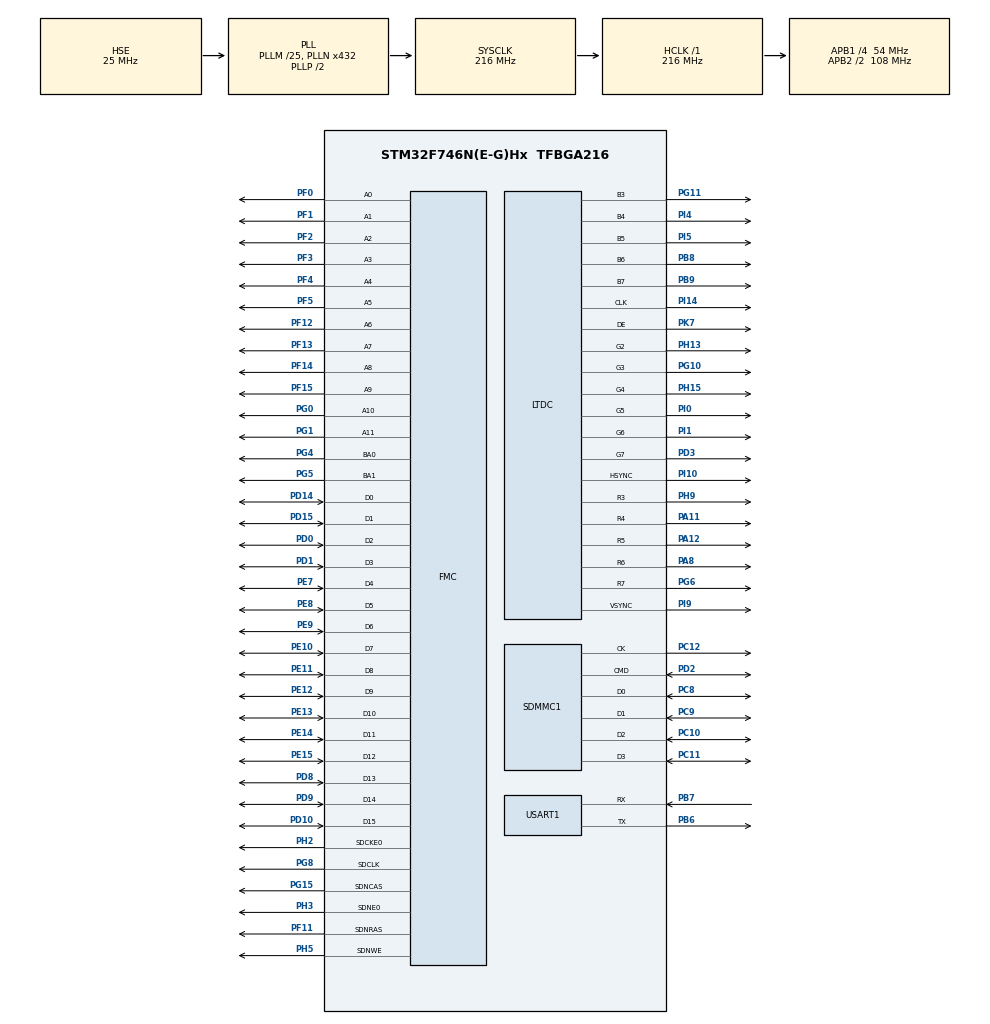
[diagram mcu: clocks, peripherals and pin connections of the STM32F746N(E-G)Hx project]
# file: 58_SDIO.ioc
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CORTEX_M7.CPU_DCache=Enabled
CORTEX_M7.CPU_ICache=Enabled
FATFS._MAX_SS=4096
FMC.CASLatency1=FMC_SDRAM_CAS_LATENCY_2
FMC.ExitSelfRefreshDelay1=6
FMC.LoadToActiveDelay1=2
FMC.RCDDelay1=2
FMC.RPDelay1=2
FMC.RPDelay2=2
FMC.RowCycleDelay1=6
FMC.RowCycleDelay2=6
FMC.SelfRefreshTime1=4
FMC.WriteRecoveryTime1=2
FREERTOS.Tasks01=defaultTask,0,1280,StartDefaultTask,Default;myTask02,-3,128,StartTask02,Default;myTask03,-3,128,StartTask03,Default;myTask04,-3,128,StartTask04,Default;myTask05,-3,128,StartTask05,Default
LTDC.ActiveH=272
LTDC.ActiveW=480
LTDC.HBP=73
LTDC.HFP=32
LTDC.HSync=41
LTDC.Layers=0
LTDC.VSync=10
LTDC.WindowX1_L0=480
LTDC.WindowY1_L0=272
Mcu.Family=STM32F7
Mcu.Name=STM32F746N(E-G)Hx
Mcu.Package=TFBGA216
NVIC.PriorityGroup=NVIC_PRIORITYGROUP_4
NVIC.TIM1_UP_TIM10_IRQn=true\:0\:0\:false\:false\:true\:false\:true
NVIC.TimeBase=TIM1_UP_TIM10_IRQn
NVIC.TimeBaseIP=TIM1
PA11.Mode=RGB565
PA11.Signal=LTDC_R4
PA12.Mode=RGB565
PA12.Signal=LTDC_R5
PA13.Mode=Serial_Wire
PA13.Signal=SYS_JTMS-SWDIO
PA14.Mode=Serial_Wire
PA14.Signal=SYS_JTCK-SWCLK
PA8.Mode=RGB565
PA8.Signal=LTDC_R6
PB6.Mode=Asynchronous
PB6.Signal=USART1_TX
PB7.Mode=Asynchronous
PB7.Signal=USART1_RX
PB8.Mode=RGB565
PB8.Signal=LTDC_B6
PB9.Mode=RGB565
PB9.Signal=LTDC_B7
PC10.Mode=SD_4_bits_Wide_bus
PC10.Signal=SDMMC1_D2
PC11.Mode=SD_4_bits_Wide_bus
PC11.Signal=SDMMC1_D3
PC12.Mode=SD_4_bits_Wide_bus
PC12.Signal=SDMMC1_CK
PC8.Mode=SD_4_bits_Wide_bus
PC8.Signal=SDMMC1_D0
PC9.Mode=SD_4_bits_Wide_bus
PC9.Signal=SDMMC1_D1
PD0.Signal=FMC_D2_DA2
PD1.Signal=FMC_D3_DA3
PD10.Signal=FMC_D15_DA15
PD14.Signal=FMC_D0_DA0
PD15.Signal=FMC_D1_DA1
PD2.Mode=SD_4_bits_Wide_bus
PD2.Signal=SDMMC1_CMD
PD3.Mode=RGB565
PD3.Signal=LTDC_G7
PD8.Signal=FMC_D13_DA13
PD9.Signal=FMC_D14_DA14
PE10.Signal=FMC_D7_DA7
PE11.Signal=FMC_D8_DA8
PE12.Signal=FMC_D9_DA9
PE13.Signal=FMC_D10_DA10
PE14.Signal=FMC_D11_DA11
PE15.Signal=FMC_D12_DA12
PE7.Signal=FMC_D4_DA4
PE8.Signal=FMC_D5_DA5
PE9.Signal=FMC_D6_DA6
PF0.Signal=FMC_A0
PF1.Signal=FMC_A1
PF11.Signal=FMC_SDNRAS
PF12.Signal=FMC_A6
PF13.Signal=FMC_A7
PF14.Signal=FMC_A8
PF15.Signal=FMC_A9
PF2.Signal=FMC_A2
PF3.Signal=FMC_A3
PF4.Signal=FMC_A4
PF5.Signal=FMC_A5
PG0.Signal=FMC_A10
PG1.Signal=FMC_A11
PG10.Mode=RGB565
PG10.Signal=LTDC_G3
PG11.Mode=RGB565
PG11.Signal=LTDC_B3
PG15.Signal=FMC_SDNCAS
PG4.Signal=FMC_A14_BA0
PG5.Signal=FMC_A15_BA1
PG6.Mode=RGB565
PG6.Signal=LTDC_R7
PG8.Signal=FMC_SDCLK
PH0/OSC_IN.Mode=HSE-External-Oscillator
PH0/OSC_IN.Signal=RCC_OSC_IN
PH1/OSC_OUT.Mode=HSE-External-Oscillator
PH1/OSC_OUT.Signal=RCC_OSC_OUT
PH13.Mode=RGB565
PH13.Signal=LTDC_G2
PH15.Mode=RGB565
PH15.Signal=LTDC_G4
PH2.Mode=SdramChipSelect1_1
PH2.Signal=FMC_SDCKE0
PH3.Mode=SdramChipSelect1_1
PH3.Signal=FMC_SDNE0
PH5.Signal=FMC_SDNWE
PH9.Mode=RGB565
PH9.Signal=LTDC_R3
PI0.Mode=RGB565
PI0.Signal=LTDC_G5
PI1.Mode=RGB565
PI1.Signal=LTDC_G6
PI10.Mode=RGB565
PI10.Signal=LTDC_HSYNC
PI14.Mode=RGB565
PI14.Signal=LTDC_CLK
PI4.Mode=RGB565
PI4.Signal=LTDC_B4
PI5.Mode=RGB565
PI5.Signal=LTDC_B5
PI9.Mode=RGB565
PI9.Signal=LTDC_VSYNC
PK7.Mode=RGB565
PK7.Signal=LTDC_DE
ProjectManager.HeapSize=0x2000
ProjectManager.StackSize=0x4000
ProjectManager.TargetToolchain=STM32CubeIDE
RCC.AHBFreq_Value=216000000
RCC.APB1CLKDivider=RCC_HCLK_DIV4
RCC.APB1Freq_Value=54000000
RCC.APB1TimFreq_Value=108000000
RCC.APB2CLKDivider=RCC_HCLK_DIV2
RCC.APB2Freq_Value=108000000
RCC.APB2TimFreq_Value=216000000
RCC.CortexFreq_Value=216000000
RCC.HCLKFreq_Value=216000000
RCC.HSE_VALUE=25000000
RCC.HSI_VALUE=16000000
RCC.LSE_VALUE=32768
RCC.PLLM=25
RCC.PLLN=432
RCC.PLLQ=9
RCC.PLLSourceVirtual=RCC_PLLSOURCE_HSE
RCC.SDMMCClockSelection=RCC_SDMMC1CLKSOURCE_CLK48
RCC.SYSCLKFreq_VALUE=216000000
RCC.SYSCLKSource=RCC_SYSCLKSOURCE_PLLCLK
RCC.USBFreq_Value=48000000
RCC.VCOOutputFreq_Value=432000000
SH.FMC_A0.0=FMC_A0,12b-sda1
SH.FMC_A1.0=FMC_A1,12b-sda1
SH.FMC_A10.0=FMC_A10,12b-sda1
SH.FMC_A11.0=FMC_A11,12b-sda1
SH.FMC_A14_BA0.0=FMC_BA0,FourSdramBanks1
SH.FMC_A15_BA1.0=FMC_BA1,FourSdramBanks1
SH.FMC_A2.0=FMC_A2,12b-sda1
SH.FMC_A3.0=FMC_A3,12b-sda1
SH.FMC_A4.0=FMC_A4,12b-sda1
SH.FMC_A5.0=FMC_A5,12b-sda1
SH.FMC_A6.0=FMC_A6,12b-sda1
SH.FMC_A7.0=FMC_A7,12b-sda1
SH.FMC_A8.0=FMC_A8,12b-sda1
SH.FMC_A9.0=FMC_A9,12b-sda1
SH.FMC_D0_DA0.0=FMC_D0,sd-16b-d1
SH.FMC_D10_DA10.0=FMC_D10,sd-16b-d1
SH.FMC_D11_DA11.0=FMC_D11,sd-16b-d1
SH.FMC_D12_DA12.0=FMC_D12,sd-16b-d1
SH.FMC_D13_DA13.0=FMC_D13,sd-16b-d1
SH.FMC_D14_DA14.0=FMC_D14,sd-16b-d1
SH.FMC_D15_DA15.0=FMC_D15,sd-16b-d1
SH.FMC_D1_DA1.0=FMC_D1,sd-16b-d1
SH.FMC_D2_DA2.0=FMC_D2,sd-16b-d1
SH.FMC_D3_DA3.0=FMC_D3,sd-16b-d1
SH.FMC_D4_DA4.0=FMC_D4,sd-16b-d1
SH.FMC_D5_DA5.0=FMC_D5,sd-16b-d1
SH.FMC_D6_DA6.0=FMC_D6,sd-16b-d1
SH.FMC_D7_DA7.0=FMC_D7,sd-16b-d1
SH.FMC_D8_DA8.0=FMC_D8,sd-16b-d1
SH.FMC_D9_DA9.0=FMC_D9,sd-16b-d1
SH.FMC_SDCLK.0=FMC_SDCLK,12b-sda1
SH.FMC_SDNCAS.0=FMC_SDNCAS,12b-sda1
SH.FMC_SDNRAS.0=FMC_SDNRAS,12b-sda1
SH.FMC_SDNWE.0=FMC_SDNWE,12b-sda1
USART1.VirtualMode=VM_ASYNC
VP_DMA2D_VS_DMA2D.Mode=DMA2D_Activate
VP_FATFS_VS_SDIO.Mode=SDIO
VP_FREERTOS_VS_ENABLE.Mode=Enabled
VP_SYS_VS_tim1.Mode=TIM1
board=SDIO

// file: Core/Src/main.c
/**
  ******************************************************************************
  * File Name          : main.c
  * Description        : Main program body
  ******************************************************************************
  *
  * Copyright (c) 2016 STMicroelectronics International N.V.
  * All rights reserved.
  *
  * Redistribution and use in source and binary forms, with or without
  * modification, are permitted, provided that the following conditions are met:
  *
  * 1. Redistribution of source code must retain the above copyright notice,
  *    this list of conditions and the following disclaimer.
  * 2. Redistributions in binary form must reproduce the above copyright notice,
  *    this list of conditions and the following disclaimer in the documentation
  *    and/or other materials provided with the distribution.
  * 3. Neither the name of STMicroelectronics nor the names of other
  *    contributors to this software may be used to endorse or promote products
  *    derived from this software without specific written permission.
  * 4. This software, including modifications and/or derivative works of this
  *    software, must execute solely and exclusively on microcontroller or
  *    microprocessor devices manufactured by or for STMicroelectronics.
  * 5. Redistribution and use of this software other than as permitted under
  *    this license is void and will automatically terminate your rights under
  *    this license.
  *
  * THIS SOFTWARE IS PROVIDED BY STMICROELECTRONICS AND CONTRIBUTORS "AS IS"
  * AND ANY EXPRESS, IMPLIED OR STATUTORY WARRANTIES, INCLUDING, BUT NOT
  * LIMITED TO, THE IMPLIED WARRANTIES OF MERCHANTABILITY, FITNESS FOR A
  * PARTICULAR PURPOSE AND NON-INFRINGEMENT OF THIRD PARTY INTELLECTUAL PROPERTY
  * RIGHTS ARE DISCLAIMED TO THE FULLEST EXTENT PERMITTED BY LAW. IN NO EVENT
  * SHALL STMICROELECTRONICS OR CONTRIBUTORS BE LIABLE FOR ANY DIRECT, INDIRECT,
  * INCIDENTAL, SPECIAL, EXEMPLARY, OR CONSEQUENTIAL DAMAGES (INCLUDING, BUT NOT
  * LIMITED TO, PROCUREMENT OF SUBSTITUTE GOODS OR SERVICES; LOSS OF USE, DATA,
  * OR PROFITS; OR BUSINESS INTERRUPTION) HOWEVER CAUSED AND ON ANY THEORY OF
  * LIABILITY, WHETHER IN CONTRACT, STRICT LIABILITY, OR TORT (INCLUDING
  * NEGLIGENCE OR OTHERWISE) ARISING IN ANY WAY OUT OF THE USE OF THIS SOFTWARE,
  * EVEN IF ADVISED OF THE POSSIBILITY OF SUCH DAMAGE.
  *
  ******************************************************************************
  */
#include "main.h"
#include "stm32f7xx_hal.h"
#include "cmsis_os.h"
#include "fatfs.h"

/* USER CODE BEGIN Includes */
#include <stdlib.h>
#include <string.h>
#include "stm32746g_discovery.h"
#include "stm32746g_discovery_lcd.h"
/* USER CODE END Includes */

DMA2D_HandleTypeDef hdma2d;

LTDC_HandleTypeDef hltdc;

SD_HandleTypeDef hsd1;
HAL_SD_CardInfoTypedef SDCardInfo1;

UART_HandleTypeDef huart1;

SDRAM_HandleTypeDef hsdram1;

osThreadId defaultTaskHandle;
osThreadId myTask02Handle;
osThreadId myTask03Handle;
osThreadId myTask04Handle;
osThreadId myTask05Handle;

/* USER CODE BEGIN PV */
/* Private variables ---------------------------------------------------------*/
#define LCD_FRAME_BUFFER	SDRAM_DEVICE_ADDR
FATFS SDFatFs;  /* File system object for SD card logical drive */
FIL MyFile;     /* File object */
extern char SD_Path[4];  /* SD logical drive path */
uint8_t sect[4096];
uint32_t bytesread = 0;
uint8_t* bmp1;
/* USER CODE END PV */

void SystemClock_Config(void);
void Error_Handler(void);
static void MX_GPIO_Init(void);
static void MX_DMA2D_Init(void);
static void MX_FMC_Init(void);
static void MX_LTDC_Init(void);
static void MX_USART1_UART_Init(void);
static void MX_SDMMC1_SD_Init(void);
void StartDefaultTask(void const * argument);
void StartTask02(void const * argument);
void StartTask03(void const * argument);
void StartTask04(void const * argument);
void StartTask05(void const * argument);

/* USER CODE BEGIN PFP */
/* Private function prototypes -----------------------------------------------*/

/* USER CODE END PFP */

/* USER CODE BEGIN 0 */
uint32_t OpenBMP(uint8_t *ptr, const char* fname)
{
	uint32_t ind = 0, sz = 0, i1 = 0, ind1 = 0;
	static uint32_t bmp_addr;

	if(f_open(&MyFile, fname, FA_READ) != FR_OK)
	{
		BSP_LCD_Clear(LCD_COLOR_RED);
	}
	else
	{
		  if (f_read (&MyFile, sect, 30, (UINT *)bytesread) != FR_OK)
		  {
			Error_Handler();
		  }
		  else
		  {
			  bmp_addr = (uint32_t)sect;
			  sz = *(uint16_t *) (bmp_addr + 2);
			  sz |= (*(uint16_t *) (bmp_addr + 4)) << 16;

			  /* Get bitmap data address offset */
			  ind = *(uint16_t *) (bmp_addr + 10);
			  ind |= (*(uint16_t *) (bmp_addr + 12)) << 16;
			  f_close (&MyFile);
			  f_open (&MyFile, fname, FA_READ);
			  ind=0;
			  do
			  {
					if (sz < 4096)
					{
					  i1 = sz;
					}
					else
					{
					  i1 = 4096;
					}
				    sz -= i1;
				    f_lseek(&MyFile,ind1);
				    f_read (&MyFile, sect, i1, (UINT *)&bytesread);
				    memcpy((void*)(bmp1+ind1), (void*)sect, i1);
					ind1+=i1;
			  }
			  while (sz > 0);
			  f_close (&MyFile);
		  }
		  ind1=0;
	}
	return 0;
}
/* USER CODE END 0 */

int main(void)
{

  /* USER CODE BEGIN 1 */
  bmp1 = (uint8_t *)0xC00FF000;
  /* USER CODE END 1 */

  /* Enable I-Cache-------------------------------------------------------------*/
  SCB_EnableICache();

  /* Enable D-Cache-------------------------------------------------------------*/
  SCB_EnableDCache();

  /* MCU Configuration----------------------------------------------------------*/

  /* Reset of all peripherals, Initializes the Flash interface and the Systick. */
  HAL_Init();

  /* Configure the system clock */
  SystemClock_Config();

  /* Initialize all configured peripherals */
  MX_GPIO_Init();
  MX_DMA2D_Init();
  MX_FMC_Init();
  MX_LTDC_Init();
  MX_USART1_UART_Init();
  MX_SDMMC1_SD_Init();

  /* USER CODE BEGIN 2 */
  BSP_LCD_Init();
  BSP_LCD_LayerDefaultInit(LTDC_ACTIVE_LAYER, LCD_FRAME_BUFFER);
  BSP_LCD_SelectLayer(LTDC_ACTIVE_LAYER);
  BSP_LCD_DisplayOn();
  BSP_LCD_Clear(LCD_COLOR_BLACK);
  /* USER CODE END 2 */

  /* Create the thread(s) */
  /* definition and creation of defaultTask */
  osThreadDef(defaultTask, StartDefaultTask, osPriorityNormal, 0, 1280);
  defaultTaskHandle = osThreadCreate(osThread(defaultTask), NULL);

  /* definition and creation of myTask02 */
  osThreadDef(myTask02, StartTask02, osPriorityIdle, 0, 128);
  myTask02Handle = osThreadCreate(osThread(myTask02), NULL);

  /* definition and creation of myTask03 */
  osThreadDef(myTask03, StartTask03, osPriorityIdle, 0, 128);
  myTask03Handle = osThreadCreate(osThread(myTask03), NULL);

  /* definition and creation of myTask04 */
  osThreadDef(myTask04, StartTask04, osPriorityIdle, 0, 128);
  myTask04Handle = osThreadCreate(osThread(myTask04), NULL);

  /* definition and creation of myTask05 */
  osThreadDef(myTask05, StartTask05, osPriorityIdle, 0, 128);
  myTask05Handle = osThreadCreate(osThread(myTask05), NULL);

  /* Start scheduler */
  osKernelStart();

  /* We should never get here as control is now taken by the scheduler */

  /* Infinite loop */
  while (1)
  {

  }

}

/** System Clock Configuration
*/
void SystemClock_Config(void)
{

  RCC_OscInitTypeDef RCC_OscInitStruct;
  RCC_ClkInitTypeDef RCC_ClkInitStruct;
  RCC_PeriphCLKInitTypeDef PeriphClkInitStruct;

    /**Configure the main internal regulator output voltage
    */
  __HAL_RCC_PWR_CLK_ENABLE();

  __HAL_PWR_VOLTAGESCALING_CONFIG(PWR_REGULATOR_VOLTAGE_SCALE1);

    /**Initializes the CPU, AHB and APB busses clocks
    */
  RCC_OscInitStruct.OscillatorType = RCC_OSCILLATORTYPE_HSE;
  RCC_OscInitStruct.HSEState = RCC_HSE_ON;
  RCC_OscInitStruct.PLL.PLLState = RCC_PLL_ON;
  RCC_OscInitStruct.PLL.PLLSource = RCC_PLLSOURCE_HSE;
  RCC_OscInitStruct.PLL.PLLM = 25;
  RCC_OscInitStruct.PLL.PLLN = 432;
  RCC_OscInitStruct.PLL.PLLP = RCC_PLLP_DIV2;
  RCC_OscInitStruct.PLL.PLLQ = 9;
  if (HAL_RCC_OscConfig(&RCC_OscInitStruct) != HAL_OK)
  {
    Error_Handler();
  }

    /**Activate the Over-Drive mode
    */
  if (HAL_PWREx_EnableOverDrive() != HAL_OK)
  {
    Error_Handler();
  }

    /**Initializes the CPU, AHB and APB busses clocks
    */
  RCC_ClkInitStruct.ClockType = RCC_CLOCKTYPE_HCLK|RCC_CLOCKTYPE_SYSCLK
                              |RCC_CLOCKTYPE_PCLK1|RCC_CLOCKTYPE_PCLK2;
  RCC_ClkInitStruct.SYSCLKSource = RCC_SYSCLKSOURCE_PLLCLK;
  RCC_ClkInitStruct.AHBCLKDivider = RCC_SYSCLK_DIV1;
  RCC_ClkInitStruct.APB1CLKDivider = RCC_HCLK_DIV4;
  RCC_ClkInitStruct.APB2CLKDivider = RCC_HCLK_DIV2;

  if (HAL_RCC_ClockConfig(&RCC_ClkInitStruct, FLASH_LATENCY_7) != HAL_OK)
  {
    Error_Handler();
  }

  PeriphClkInitStruct.PeriphClockSelection = RCC_PERIPHCLK_LTDC|RCC_PERIPHCLK_USART1
                              |RCC_PERIPHCLK_SDMMC1|RCC_PERIPHCLK_CLK48;
  PeriphClkInitStruct.PLLSAI.PLLSAIN = 192;
  PeriphClkInitStruct.PLLSAI.PLLSAIR = 2;
  PeriphClkInitStruct.PLLSAI.PLLSAIQ = 2;
  PeriphClkInitStruct.PLLSAI.PLLSAIP = RCC_PLLSAIP_DIV2;
  PeriphClkInitStruct.PLLSAIDivQ = 1;
  PeriphClkInitStruct.PLLSAIDivR = RCC_PLLSAIDIVR_2;
  PeriphClkInitStruct.Usart1ClockSelection = RCC_USART1CLKSOURCE_PCLK2;
  PeriphClkInitStruct.Clk48ClockSelection = RCC_CLK48SOURCE_PLL;
  PeriphClkInitStruct.Sdmmc1ClockSelection = RCC_SDMMC1CLKSOURCE_CLK48;
  if (HAL_RCCEx_PeriphCLKConfig(&PeriphClkInitStruct) != HAL_OK)
  {
    Error_Handler();
  }

    /**Configure the Systick interrupt time
    */
  HAL_SYSTICK_Config(HAL_RCC_GetHCLKFreq()/1000);

    /**Configure the Systick
    */
  HAL_SYSTICK_CLKSourceConfig(SYSTICK_CLKSOURCE_HCLK);

  /* SysTick_IRQn interrupt configuration */
  HAL_NVIC_SetPriority(SysTick_IRQn, 15, 0);
}

/* DMA2D init function */
static void MX_DMA2D_Init(void)
{

  hdma2d.Instance = DMA2D;
  hdma2d.Init.Mode = DMA2D_M2M;
  hdma2d.Init.ColorMode = DMA2D_OUTPUT_ARGB8888;
  hdma2d.Init.OutputOffset = 0;
  hdma2d.LayerCfg[1].InputOffset = 0;
  hdma2d.LayerCfg[1].InputColorMode = DMA2D_INPUT_ARGB8888;
  hdma2d.LayerCfg[1].AlphaMode = DMA2D_NO_MODIF_ALPHA;
  hdma2d.LayerCfg[1].InputAlpha = 0;
  if (HAL_DMA2D_Init(&hdma2d) != HAL_OK)
  {
    Error_Handler();
  }

  if (HAL_DMA2D_ConfigLayer(&hdma2d, 1) != HAL_OK)
  {
    Error_Handler();
  }

}

/* LTDC init function */
static void MX_LTDC_Init(void)
{

  LTDC_LayerCfgTypeDef pLayerCfg;

  hltdc.Instance = LTDC;
  hltdc.Init.HSPolarity = LTDC_HSPOLARITY_AL;
  hltdc.Init.VSPolarity = LTDC_VSPOLARITY_AL;
  hltdc.Init.DEPolarity = LTDC_DEPOLARITY_AL;
  hltdc.Init.PCPolarity = LTDC_PCPOLARITY_IPC;
  hltdc.Init.HorizontalSync = 40;
  hltdc.Init.VerticalSync = 9;
  hltdc.Init.AccumulatedHBP = 113;
  hltdc.Init.AccumulatedVBP = 11;
  hltdc.Init.AccumulatedActiveW = 593;
  hltdc.Init.AccumulatedActiveH = 283;
  hltdc.Init.TotalWidth = 625;
  hltdc.Init.TotalHeigh = 285;
  hltdc.Init.Backcolor.Blue = 0;
  hltdc.Init.Backcolor.Green = 0;
  hltdc.Init.Backcolor.Red = 0;
  if (HAL_LTDC_Init(&hltdc) != HAL_OK)
  {
    Error_Handler();
  }

  pLayerCfg.WindowX0 = 0;
  pLayerCfg.WindowX1 = 480;
  pLayerCfg.WindowY0 = 0;
  pLayerCfg.WindowY1 = 272;
  pLayerCfg.PixelFormat = LTDC_PIXEL_FORMAT_RGB565;
  pLayerCfg.Alpha = 0;
  pLayerCfg.Alpha0 = 0;
  pLayerCfg.BlendingFactor1 = LTDC_BLENDING_FACTOR1_CA;
  pLayerCfg.BlendingFactor2 = LTDC_BLENDING_FACTOR2_CA;
  pLayerCfg.FBStartAdress = 0;
  pLayerCfg.ImageWidth = 0;
  pLayerCfg.ImageHeight = 0;
  pLayerCfg.Backcolor.Blue = 0;
  pLayerCfg.Backcolor.Green = 0;
  pLayerCfg.Backcolor.Red = 0;
  if (HAL_LTDC_ConfigLayer(&hltdc, &pLayerCfg, 0) != HAL_OK)
  {
    Error_Handler();
  }

}

/* SDMMC1 init function */
static void MX_SDMMC1_SD_Init(void)
{

  hsd1.Instance = SDMMC1;
  hsd1.Init.ClockEdge = SDMMC_CLOCK_EDGE_RISING;
  hsd1.Init.ClockBypass = SDMMC_CLOCK_BYPASS_DISABLE;
  hsd1.Init.ClockPowerSave = SDMMC_CLOCK_POWER_SAVE_DISABLE;
  hsd1.Init.BusWide = SDMMC_BUS_WIDE_1B;
  hsd1.Init.HardwareFlowControl = SDMMC_HARDWARE_FLOW_CONTROL_DISABLE;
  hsd1.Init.ClockDiv = 0;

}

/* USART1 init function */
static void MX_USART1_UART_Init(void)
{

  huart1.Instance = USART1;
  huart1.Init.BaudRate = 115200;
  huart1.Init.WordLength = UART_WORDLENGTH_7B;
  huart1.Init.StopBits = UART_STOPBITS_1;
  huart1.Init.Parity = UART_PARITY_NONE;
  huart1.Init.Mode = UART_MODE_TX_RX;
  huart1.Init.HwFlowCtl = UART_HWCONTROL_NONE;
  huart1.Init.OverSampling = UART_OVERSAMPLING_16;
  huart1.Init.OneBitSampling = UART_ONE_BIT_SAMPLE_DISABLE;
  huart1.AdvancedInit.AdvFeatureInit = UART_ADVFEATURE_NO_INIT;
  if (HAL_UART_Init(&huart1) != HAL_OK)
  {
    Error_Handler();
  }

}
/* FMC initialization function */
static void MX_FMC_Init(void)
{
  FMC_SDRAM_TimingTypeDef SdramTiming;

  /** Perform the SDRAM1 memory initialization sequence
  */
  hsdram1.Instance = FMC_SDRAM_DEVICE;
  /* hsdram1.Init */
  hsdram1.Init.SDBank = FMC_SDRAM_BANK1;
  hsdram1.Init.ColumnBitsNumber = FMC_SDRAM_COLUMN_BITS_NUM_8;
  hsdram1.Init.RowBitsNumber = FMC_SDRAM_ROW_BITS_NUM_12;
  hsdram1.Init.MemoryDataWidth = FMC_SDRAM_MEM_BUS_WIDTH_16;
  hsdram1.Init.InternalBankNumber = FMC_SDRAM_INTERN_BANKS_NUM_4;
  hsdram1.Init.CASLatency = FMC_SDRAM_CAS_LATENCY_2;
  hsdram1.Init.WriteProtection = FMC_SDRAM_WRITE_PROTECTION_DISABLE;
  hsdram1.Init.SDClockPeriod = FMC_SDRAM_CLOCK_DISABLE;
  hsdram1.Init.ReadBurst = FMC_SDRAM_RBURST_DISABLE;
  hsdram1.Init.ReadPipeDelay = FMC_SDRAM_RPIPE_DELAY_0;
  /* SdramTiming */
  SdramTiming.LoadToActiveDelay = 2;
  SdramTiming.ExitSelfRefreshDelay = 6;
  SdramTiming.SelfRefreshTime = 4;
  SdramTiming.RowCycleDelay = 6;
  SdramTiming.WriteRecoveryTime = 2;
  SdramTiming.RPDelay = 2;
  SdramTiming.RCDDelay = 2;

  if (HAL_SDRAM_Init(&hsdram1, &SdramTiming) != HAL_OK)
  {
    Error_Handler();
  }

}

/** Configure pins as
        * Analog
        * Input
        * Output
        * EVENT_OUT
        * EXTI
*/
static void MX_GPIO_Init(void)
{

  /* GPIO Ports Clock Enable */
  __HAL_RCC_GPIOB_CLK_ENABLE();
  __HAL_RCC_GPIOC_CLK_ENABLE();
  __HAL_RCC_GPIOA_CLK_ENABLE();
  __HAL_RCC_GPIOG_CLK_ENABLE();
  __HAL_RCC_GPIOD_CLK_ENABLE();
  __HAL_RCC_GPIOI_CLK_ENABLE();
  __HAL_RCC_GPIOK_CLK_ENABLE();
  __HAL_RCC_GPIOF_CLK_ENABLE();
  __HAL_RCC_GPIOH_CLK_ENABLE();
  __HAL_RCC_GPIOE_CLK_ENABLE();

}

/* StartDefaultTask function */
void StartDefaultTask(void const * argument)
{
  /* init code for FATFS */
  MX_FATFS_Init();

  /* USER CODE BEGIN 5 */
  if(f_mount(&SDFatFs, (TCHAR const*)SD_Path, 0) != FR_OK)
  {
	BSP_LCD_Clear(LCD_COLOR_RED);
    Error_Handler();
  }
  /* Infinite loop */
  for(;;)
  {
	OpenBMP((uint8_t *)bmp1,"image01.bmp");
	BSP_LCD_DrawBitmap(0,0,(uint8_t *)bmp1);
	osDelay(100);
	OpenBMP((uint8_t *)bmp1,"image02.bmp");
	BSP_LCD_Clear(LCD_COLOR_BLACK);
	BSP_LCD_DrawBitmap(0,0,(uint8_t *)bmp1);
	osDelay(100);
	OpenBMP((uint8_t *)bmp1,"image03.bmp");
	BSP_LCD_DrawBitmap(0,0,(uint8_t *)bmp1);
	osDelay(100);
	OpenBMP((uint8_t *)bmp1,"image04.bmp");
	BSP_LCD_DrawBitmap(0,0,(uint8_t *)bmp1);
	osDelay(100);
  }
  /* USER CODE END 5 */
}

/* StartTask02 function */
void StartTask02(void const * argument)
{
  /* USER CODE BEGIN StartTask02 */
  /* Infinite loop */
	  for(;;)
	  {
			BSP_LCD_SetTextColor((uint32_t)(LCD_COLOR_TRANSPARENT|((rand()%256)<<16)|((rand()%256)<<8)|(rand()%256)));
			BSP_LCD_FillRect(384,136,96,136);
			osDelay(10000);
	  }

  /* USER CODE END StartTask02 */
}

/* StartTask03 function */
void StartTask03(void const * argument)
{
	  for(;;)
	  {
		    osDelay(1);
	  }
}

/* StartTask04 function */
void StartTask04(void const * argument)
{
	  for(;;)
	  {
		    osDelay(1);
	  }
}

/* StartTask05 function */
void StartTask05(void const * argument)
{
	  for(;;)
	  {
		    osDelay(1);
	  }
}

void HAL_TIM_PeriodElapsedCallback(TIM_HandleTypeDef *htim)
{
  if (htim->Instance == TIM1) {
    HAL_IncTick();
  }
}

void Error_Handler(void)
{
  while(1)
  {
  }
}

/************************ (C) COPYRIGHT STMicroelectronics *****END OF FILE****/
